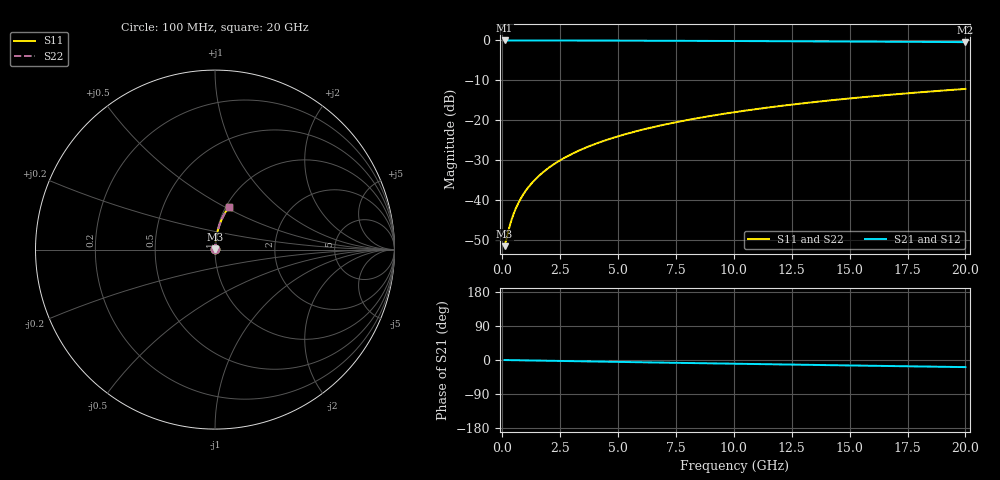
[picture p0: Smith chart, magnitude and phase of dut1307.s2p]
! Touchstone file exported from HFSS 2024.1.0
!  File:  C:/UserFiles/LocalFiles/RDL_TSV_Batchsim/temp_RDL_top_1307_1780364530.aedt
!  Generated:  09:44:31 AM Jun  2, 2026
!  Design:  RDL_top
!  Project:  temp_RDL_top_1307_1780364530
!  Setup:  Setup1
!  Solution:  Sweep
! Variables:
!  dtsv = 10.80580581um
!  hbump = 3um
!  htsv = 58.99um
!  ldown = 100um
!  lrdl = 210.23um
!  p = 40
!  p1 = 41.15um
!  rhole = 1um
!  t = 450um
!  tdown = 3.915915916um
!  trdl = 3.38um
!  wdown = 15.38538539um
!  wrdl = 10.06um
# GHz S MA R 50.000000
! Terminal data exported
! Port[1] = Box2_T1
! Port[2] = Box2_T2
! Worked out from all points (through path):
!   200 points, 100 MHz to 20 GHz, reference 50 ohm
!   highest |S21| = -0.02 dB at 100 MHz (marker M1); lowest = -0.4 dB at 20 GHz (marker M2)
!   group delay of S21, straight-line fit = 2.6 ps
!   lowest |S11| = -51.5 dB at 100 MHz (marker M3), VSWR 1.01, Z = 50.2 + j0.13 ohm
!   |S11| at or under -10 dB: start of sweep to end of sweep
!   |S22| runs from -51.5 to -12.1 dB; largest |S21 - S12| = 2e-15
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0.1  0.002658 29.2  0.9977 -0.1  0.9977 -0.1  0.002658 29.2
! Gamma 0 0 0 0
! Port Impedance 50 0 50 0
0.3  0.004545 58.5  0.9976 -0.3  0.9976 -0.3  0.004545 58.5
0.4  0.005689 64.9  0.9976 -0.4  0.9976 -0.4  0.005689 64.9
0.5  0.006873 69.0  0.9975 -0.5  0.9975 -0.5  0.006873 69.0
0.6  0.008078 71.9  0.9975 -0.6  0.9975 -0.6  0.008078 71.9
0.7  0.009292 74.0  0.9974 -0.7  0.9974 -0.7  0.009292 74.0
0.9  0.01174 76.9  0.9973 -0.9  0.9973 -0.9  0.01174 76.9
1.2  0.01543 79.5  0.9972 -1.2  0.9972 -1.2  0.01543 79.5
1.4  0.01791 80.6  0.997 -1.4  0.997 -1.4  0.01791 80.6
1.7  0.02163 81.8  0.9968 -1.7  0.9968 -1.7  0.02163 81.8
2.2  0.02786 82.9  0.9965 -2.2  0.9965 -2.2  0.02786 82.9
2.8  0.03537 83.6  0.9959 -2.8  0.9959 -2.8  0.03537 83.6
3.5  0.04415 83.8  0.9951 -3.5  0.9951 -3.5  0.04415 83.8
4.2  0.05295 83.8  0.9941 -4.2  0.9941 -4.2  0.05295 83.8
5  0.06302 83.6  0.9928 -5.0  0.9928 -5.0  0.06302 83.6
5.9  0.07436 83.2  0.9912 -5.9  0.9912 -5.9  0.07436 83.2
6.8  0.08571 82.7  0.9894 -6.8  0.9894 -6.8  0.08571 82.7
8.3  0.1046 81.8  0.986 -8.2  0.986 -8.2  0.1046 81.8
10.1  0.1272 80.4  0.9815 -9.9  0.9815 -9.9  0.1272 80.4
13.4  0.1682 77.7  0.9723 -13.0  0.9723 -13.0  0.1682 77.7
16.7  0.2082 74.9  0.9619 -15.9  0.9619 -15.9  0.2082 74.9
20  0.2469 72.1  0.9507 -18.8  0.9507 -18.8  0.2469 72.1
